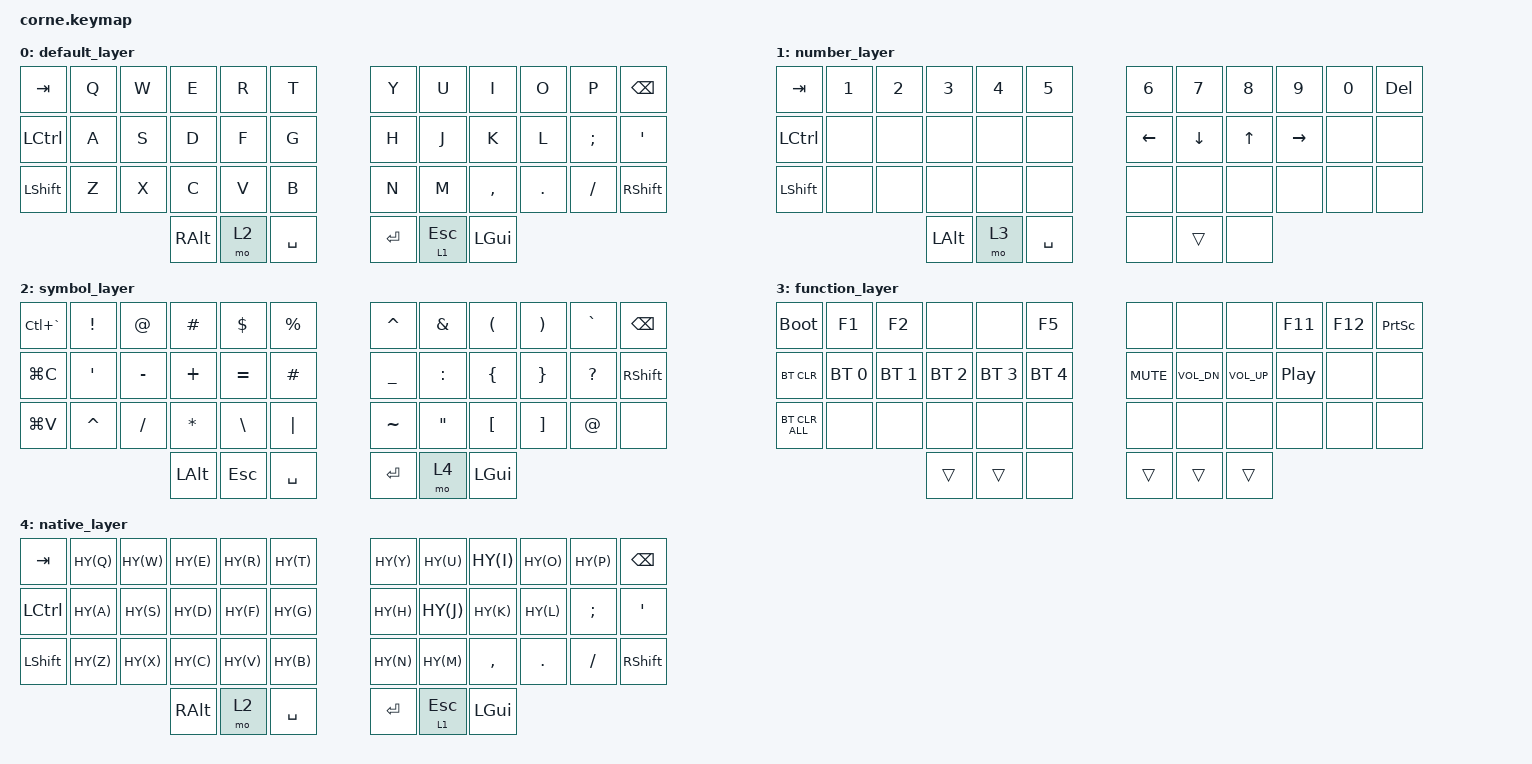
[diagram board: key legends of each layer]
/*
 * Copyright (c) 2020 The ZMK Contributors
 *
 * SPDX-License-Identifier: MIT
 */

#include <behaviors.dtsi>
#include <dt-bindings/zmk/keys.h>
#include <dt-bindings/zmk/bt.h>

#define HY(kc) LC(LS(LA(LG(kc))))

/ {
        keymap {
                compatible = "zmk,keymap";

                default_layer {
// -----------------------------------------------------------------------------------------
// |  TAB |  Q  |  W  |  E  |  R  |  T  |   |  Y  |  U   |  I  |  O  |  P  | BSPC |
// | CTRL |  A  |  S  |  D  |  F  |  G  |   |  H  |  J   |  K  |  L  |  ;  |  '   |
// | SHFT |  Z  |  X  |  C  |  V  |  B  |   |  N  |  M   |  ,  |  .  |  /  | SHFT |
//                    | ALT | LWR | SPC |   | ENT | RSE  | GUI |
                        bindings = <
   &kp TAB   &kp Q &kp W &kp E &kp R &kp T   &kp Y &kp U  &kp I     &kp O   &kp P    &kp BSPC
   &kp LCTRL &kp A &kp S &kp D &kp F &kp G   &kp H &kp J  &kp K     &kp L   &kp SEMI &kp SQT
   &kp LSHFT &kp Z &kp X &kp C &kp V &kp B   &kp N &kp M  &kp COMMA &kp DOT &kp FSLH &kp RSHFT
                  &kp RALT  &mo 2 &kp SPACE   &kp RET &lt 1 ESC &kp LGUI
                        >;
                };
                number_layer {
// -----------------------------------------------------------------------------------------
// |  TAB |  1  |  2  |  3  |  4  |  5  |   |  6  |  7  |  8  |  9  |  0  | DEL  |
// | CTRL |     |     |     |     | SCR↑|   | LFT | DWN |  UP | RGT |     |      |
// | SHFT | MV← | MV↓ | MV→ | SCR↓|     |   |     |     |     |     |     |      |
//                    | ALT | Function layer | SPC |   |     |     |     |
                        bindings = <
   &kp TAB    &kp N1       &kp N2       &kp N3       &kp N4       &kp N5         &kp N6   &kp N7   &kp N8 &kp N9    &kp N0 &kp DEL
   &kp LCTRL  &none        &none     &none &none     &none &kp LEFT &kp DOWN &kp UP &kp RIGHT &none  &none
   &kp LSHFT  &none &none &none &none &none &none   &none   &none &none    &none &none
                           &kp LALT     &mo 3       &kp SPACE    &none  &trans   &none
                        >;
                };

                symbol_layer {
// -----------------------------------------------------------------------------------------
// | CTRL` |  !  |  @  |  #  |  $  |  %  |   |  ^  |  &  | (  |  )  | ` | BSPC |
// | GUI+C |  '  |  -  |  +  |  =  |  #  |   |  _  |  :  |  {  |  }  |  ?  | SHFT |
// | GUI+V |  ^  |  /  |  *  |  \  |  |  |   |  ~  |  "  |  [  |  ]  |  @  |      |
//                    | ALT | ESC | SPC |   | ENT |  _  | GUI |
                        bindings = <
   &kp LC(GRAVE) &kp EXCL  &kp AT    &kp HASH  &kp DLLR  &kp PRCNT    &kp CARET &kp AMPS  &kp LPAR  &kp RPAR  &kp GRAVE &kp BSPC
   &kp LG(C)     &kp SQT   &kp MINUS &kp PLUS  &kp EQUAL &kp HASH     &kp UNDER &kp COLON &kp LBRC  &kp RBRC  &kp QMARK &kp RSHFT
   &kp LG(V)     &kp CARET &kp FSLH  &kp ASTRK &kp BSLH  &kp PIPE     &kp TILDE &kp DQT   &kp LBKT  &kp RBKT  &kp AT    &none
                           &kp LALT  &kp ESC   &kp SPACE    &kp RET   &mo 4  &kp LGUI
                        >;
                };
            function_layer {
// -----------------------------------------------------------------------------------------
// | BOOT | F1  | F2  |     |     | F5  |   |     |     |     | F11 | F12 | PSCRN |
// | BT_CLR | BT_SEL 0 | BT_SEL 1 | BT_SEL 2 | BT_SEL 3 | BT_SEL 4 |   | MUTE | VOL_DN | VOL_UP | PLAY |     |     |
// |     |     |     |     |     |     |   |     |     |     |     |     |     |
//                    |     |     |     |   |     |     |     |
                        bindings = <
   &bootloader &kp F1       &kp F2       &none        &none        &kp F5          &none      &none      &none      &kp F11     &kp F12     &kp PSCRN
   &bt BT_CLR  &bt BT_SEL 0 &bt BT_SEL 1 &bt BT_SEL 2 &bt BT_SEL 3 &bt BT_SEL 4    &kp C_MUTE &kp C_VOL_DN &kp C_VOL_UP &kp C_PP &none       &none
   &bt BT_CLR_ALL     &none     &none     &none     &none        &none           &none      &none      &none      &none       &none       &none
                                          &trans       &trans       &none           &trans     &trans     &trans
                        >;
                };
        native_layer{
// -----------------------------------------------------------------------------------------
// |  TAB |  Q  |  W  |  E  |  R  |  T  |   |  Y  |  U   |  I  |  O  |  P  | BSPC |
// | CTRL |  A  |  S  |  D  |  F  |  G  |   |  H  |  J   |  K  |  L  |  ;  |  '   |
// | SHFT |  Z  |  X  |  C  |  V  |  B  |   |  N  |  M   |  ,  |  .  |  /  | SHFT |
//                    | ALT | LWR | SPC |   | ENT | RSE  | GUI |
                        bindings = <
   &kp TAB   &kp HY(Q) &kp HY(W) &kp HY(E) &kp HY(R) &kp HY(T)   &kp HY(Y) &kp HY(U)  &kp HY(I)     &kp HY(O)   &kp HY(P)    &kp BSPC
   &kp LCTRL &kp HY(A) &kp HY(S) &kp HY(D) &kp HY(F) &kp HY(G)   &kp HY(H) &kp HY(J)  &kp HY(K)     &kp HY(L)   &kp SEMI &kp SQT
   &kp LSHFT &kp HY(Z) &kp HY(X) &kp HY(C) &kp HY(V) &kp HY(B)   &kp HY(N) &kp HY(M)  &kp COMMA &kp DOT &kp FSLH &kp RSHFT
                  &kp RALT  &mo 2 &kp SPACE   &kp RET &lt 1 ESC &kp LGUI
                        >;
        };
        };


macros {
        screenshot: screenshot {
            compatible = "zmk,behavior-macro";
            #binding-cells = <0>;
            bindings = <&macro_press &kp LGUI &kp LSHFT>,
                       <&macro_tap &kp N4>,
                       <&macro_release &kp LGUI &kp LSHFT>;
        };
    };

    combos {
        compatible = "zmk,combos";
        combo_screenshot {
            timeout-ms = <50>;
            key-positions = <0 37>; 
            bindings = <&screenshot>;
        };
    };
};


